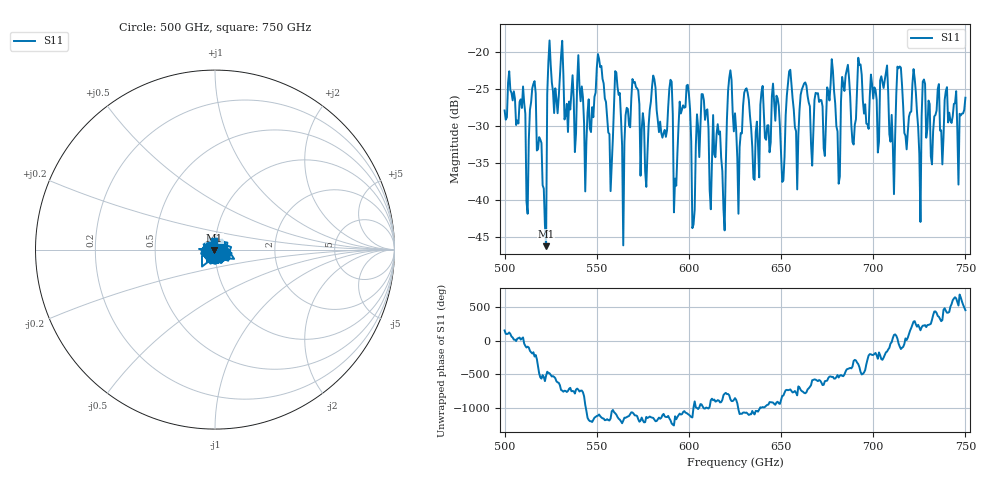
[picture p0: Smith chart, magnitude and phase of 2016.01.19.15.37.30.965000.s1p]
!Created with skrf (http://scikit-rf.org).
# GHz S RI R 50.0
!freq ReS11 ImS11
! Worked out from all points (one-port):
!   401 points, 500 GHz to 750 GHz, reference 50 ohm
!   lowest |S11| = -46.2 dB at 522.5 GHz (marker M1), VSWR 1.01, Z = 49.5 - j0.134 ohm
!   |S11| at or under -10 dB: start of sweep to end of sweep
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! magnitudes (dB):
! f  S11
! 500 GHz  -27.9
! 512.5 GHz  -41.8
! 515.6 GHz  -24.3
! 522.5 GHz  -46.2
! 524.4 GHz  -18.5
! 531.2 GHz  -18.5
! 545 GHz  -28.2
! 551.2 GHz  -21.0
! 557.5 GHz  -38.8
! 562.5 GHz  -25.6
! 576.9 GHz  -38.2
! 590 GHz  -23.8
! 593.8 GHz  -33.7
! 599.4 GHz  -24.5
! 602.5 GHz  -43.3
! 608.1 GHz  -26.6
! 618.8 GHz  -41.2
! 621.9 GHz  -23.5
! 625 GHz  -28.3
! 646.9 GHz  -29.3
! 650.6 GHz  -37.6
! 656.2 GHz  -26.3
! 687.5 GHz  -26.1
! 706.2 GHz  -23.8
! 710.6 GHz  -32.6
! 714.4 GHz  -22.0
! 718.8 GHz  -30.8
! 750 GHz  -26.2
